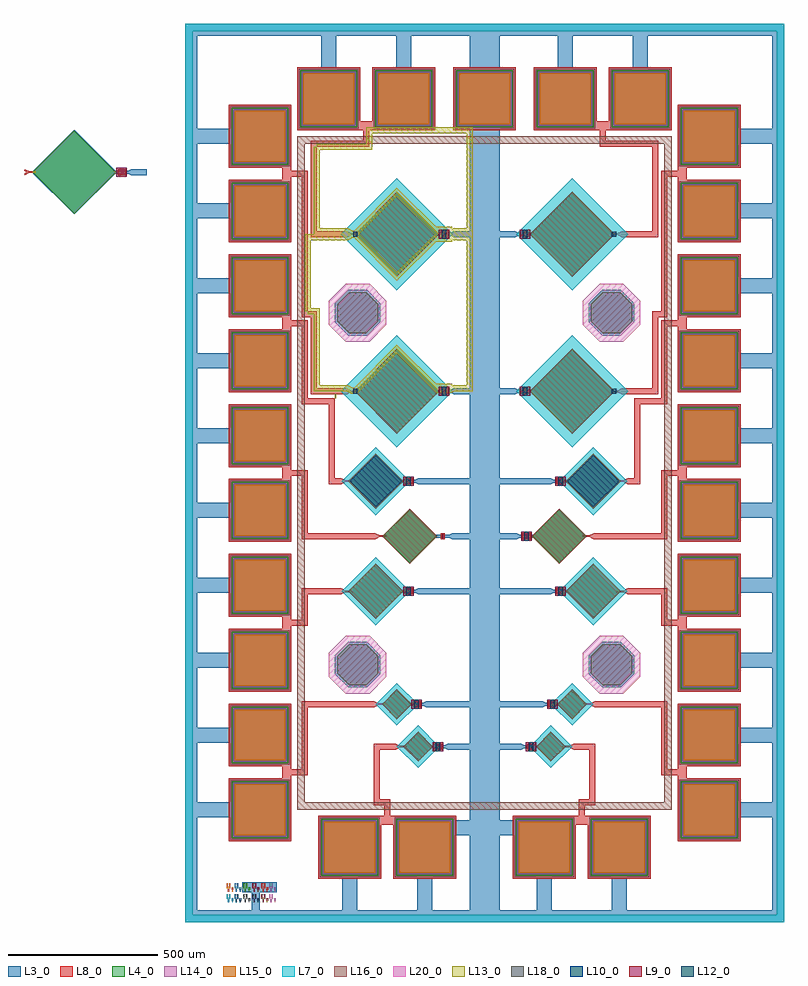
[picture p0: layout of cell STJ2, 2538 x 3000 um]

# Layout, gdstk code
from math import pi, radians
import gdstk
lib = gdstk.Library(unit=1e-6, precision=1e-09)
def R(c, l, rs):  # rectangles x0, y0, x1, y1
    for r in rs: c.add(gdstk.rectangle(r[:2], r[2:], *l))
def A(c, l, x, y, w, h, nx, ny, dx, dy):  # array of equal rectangles
    R(c, l, [(x+i*dx, y+j*dy, x+i*dx+w, y+j*dy+h) for i in range(nx) for j in range(ny)])
def P(c, l, *ps):  # polygons
    for p in ps: c.add(gdstk.Polygon(p, *l))
L3_0 = (3, 0)
L4_0 = (4, 0)
L7_0 = (7, 0)
L8_0 = (8, 0)
L9_0 = (9, 0)
L10_0 = (10, 0)
L12_0 = (12, 0)
L13_0 = (13, 0)
L14_0 = (14, 0)
L15_0 = (15, 0)
L16_0 = (16, 0)
L18_0 = (18, 0)
L20_0 = (20, 0)

pad200s = lib.new_cell('pad200s')
R(pad200s, L3_0, [(0,0,200,200)])
R(pad200s, L4_0, [(5,5,195,195)])
R(pad200s, L8_0, [(-5,-5,205,205)])
R(pad200s, L14_0, [(10,10,190,190)])
R(pad200s, L15_0, [(15,15,185,185)])

smallpost = lib.new_cell('smallpost')
P(smallpost, L3_0, [(31.5,76),(76,31.5),(76,-31.5),(31.5,-76),(-31.5,-76),(-76,-31.5),(-76,31.5),(-31.5,76)])
P(smallpost, L18_0, [(28.5,68.5),(68.5,28.5),(68.5,-28.5),(28.5,-68.5),(-28.5,-68.5),(-68.5,-28.5),(-68.5,28.5),(-28.5,68.5)])
P(smallpost, L20_0, [(39.799,96.083),(96.083,39.799),(96.083,-39.799),(39.799,-96.083),(-39.799,-96.083),(-96.083,-39.799),(-96.083,39.799),(-39.799,96.083)])

stj2 = lib.new_cell('STJ2')
A(stj2, L3_0, 40, 350, 110, 50, 1, 10, 0, 250)
A(stj2, L3_0, 1850, 350, 110, 50, 1, 10, 0, 250)
R(stj2, L3_0, [(0,0,1960,40), (1960,0,2000,2960), (0,40,40,3000), (222,40,250,100), (525,40,575,150), (775,40,825,150), (950,40,1050,2960), (1175,40,1225,150), (1425,40,1475,150), (191,100,306,133), (169,102,173,118), (183,102,185,110), (181,108,183,116), (185,108,187,116), (165,114,169,130), (173,114,177,130), (900,290,950,340), (1050,290,1100,340), (876.73,576.365,950,596.365), (1050,576.365,1123.27,596.365), (821.73,581.365,866.73,591.365), (869.23,581.365,876.73,591.365), (1123.27,581.365,1130.77,591.365), (1133.27,581.365,1178.27,591.365), (806.023,717.786,950,737.786), (1050,717.786,1193.977,737.786), (751.023,722.786,796.023,732.786), (798.523,722.786,806.023,732.786), (1193.977,722.786,1201.477,732.786), (1203.977,722.786,1248.977,732.786), (779.311,1095.09,950,1115.09), (1050,1095.09,1220.689,1115.09), (724.311,1100.09,769.311,1110.09), (771.811,1100.09,779.311,1110.09), (1220.689,1100.09,1228.189,1110.09), (1230.689,1100.09,1275.689,1110.09), (892.449,1278.938,950,1298.938), (1050,1278.938,1107.551,1298.938), (837.449,1283.938,882.449,1293.938), (884.949,1283.938,892.449,1293.938), (1107.551,1283.938,1115.051,1293.938), (1117.551,1283.938,1162.551,1293.938), (779.311,1462.786,950,1482.786), (1050,1462.786,1220.689,1482.786), (724.311,1467.786,769.311,1477.786), (771.811,1467.786,779.311,1477.786), (1220.689,1467.786,1228.189,1477.786), (1230.689,1467.786,1275.689,1477.786), (897.522,1762.952,950,1782.952), (1050,1762.952,1102.478,1782.952), (842.522,1767.952,887.522,1777.952), (890.022,1767.952,897.522,1777.952), (1102.478,1767.952,1109.978,1777.952), (1112.478,1767.952,1157.478,1777.952), (897.522,2287.318,950,2307.318), (1050,2287.318,1102.478,2307.318), (842.522,2292.318,887.522,2302.318), (890.022,2292.318,897.522,2302.318), (1102.478,2292.318,1109.978,2302.318), (1112.478,2292.318,1157.478,2302.318), (-180,2495,-127.522,2515), (-235,2500,-190,2510), (-187.5,2500,-180,2510), (1050,2660,1100,2710), (455,2850,505,2960), (705,2850,755,2960), (1245,2850,1295,2960), (1495,2850,1545,2960), (40,2960,2000,3000)])
P(stj2, L3_0, [(-370.182,2646.421),(-511.603,2505),(-370.182,2363.579),(-228.761,2505)],
  [(-195,2507.5),(-192.5,2502.5),(-177.5,2510),(-180,2515)],
  [(-180,2495),(-177.5,2500),(-192.5,2507.5),(-195,2502.5)],
  [(707.34,2155.897),(565.919,2297.318),(707.34,2438.739),(848.761,2297.318)],
  [(1292.66,2155.897),(1434.081,2297.318),(1292.66,2438.739),(1151.239,2297.318)],
  [(897.522,2307.318),(900.022,2302.318),(885.022,2294.818),(882.522,2299.818)],
  [(1102.478,2307.318),(1099.978,2302.318),(1114.978,2294.818),(1117.478,2299.818)],
  [(882.522,2294.818),(885.022,2299.818),(900.022,2292.318),(897.522,2287.318)],
  [(1117.478,2294.818),(1114.978,2299.818),(1099.978,2292.318),(1102.478,2287.318)],
  [(707.34,1631.531),(565.919,1772.952),(707.34,1914.373),(848.761,1772.952)],
  [(1292.66,1631.531),(1434.081,1772.952),(1292.66,1914.373),(1151.239,1772.952)],
  [(897.522,1782.952),(900.022,1777.952),(885.022,1770.452),(882.522,1775.452)],
  [(1102.478,1782.952),(1099.978,1777.952),(1114.978,1770.452),(1117.478,1775.452)],
  [(882.522,1770.452),(885.022,1775.452),(900.022,1767.952),(897.522,1762.952)],
  [(1117.478,1770.452),(1114.978,1775.452),(1099.978,1767.952),(1102.478,1762.952)],
  [(636.811,1380.862),(544.887,1472.786),(636.811,1564.71),(728.735,1472.786)],
  [(1363.189,1380.862),(1455.113,1472.786),(1363.189,1564.71),(1271.265,1472.786)],
  [(779.311,1482.786),(781.811,1477.786),(766.811,1470.286),(764.311,1475.286)],
  [(1220.689,1482.786),(1218.189,1477.786),(1233.189,1470.286),(1235.689,1475.286)],
  [(764.311,1470.286),(766.811,1475.286),(781.811,1467.786),(779.311,1462.786)],
  [(1235.689,1470.286),(1233.189,1475.286),(1218.189,1467.786),(1220.689,1462.786)],
  [(749.949,1197.014),(658.025,1288.938),(749.949,1380.862),(841.873,1288.938)],
  [(1250.051,1197.014),(1341.975,1288.938),(1250.051,1380.862),(1158.127,1288.938)],
  [(892.449,1298.938),(894.949,1293.938),(879.949,1286.438),(877.449,1291.438)],
  [(1107.551,1298.938),(1105.051,1293.938),(1120.051,1286.438),(1122.551,1291.438)],
  [(877.449,1286.438),(879.949,1291.438),(894.949,1283.938),(892.449,1278.938)],
  [(1122.551,1286.438),(1120.051,1291.438),(1105.051,1283.938),(1107.551,1278.938)],
  [(636.811,1013.166),(544.887,1105.09),(636.811,1197.014),(728.735,1105.09)],
  [(1363.189,1013.166),(1455.113,1105.09),(1363.189,1197.014),(1271.265,1105.09)],
  [(779.311,1115.09),(781.811,1110.09),(766.811,1102.59),(764.311,1107.59)],
  [(1220.689,1115.09),(1218.189,1110.09),(1233.189,1102.59),(1235.689,1107.59)],
  [(764.311,1102.59),(766.811,1107.59),(781.811,1100.09),(779.311,1095.09)],
  [(1235.689,1102.59),(1233.189,1107.59),(1218.189,1100.09),(1220.689,1095.09)],
  [(658.021,727.786),(707.521,777.286),(757.019,727.786),(707.521,678.286)],
  [(1341.979,727.786),(1292.479,777.286),(1242.981,727.786),(1292.479,678.286)],
  [(806.023,737.786),(808.523,732.786),(793.523,725.286),(791.023,730.286)],
  [(1193.977,737.786),(1191.477,732.786),(1206.477,725.286),(1208.977,730.286)],
  [(791.023,725.286),(793.523,730.286),(808.523,722.786),(806.023,717.786)],
  [(1208.977,725.286),(1206.477,730.286),(1191.477,722.786),(1193.977,717.786)],
  [(728.728,586.365),(778.228,635.865),(827.726,586.365),(778.228,536.865)],
  [(1271.272,586.365),(1221.772,635.865),(1172.274,586.365),(1221.772,536.865)],
  [(876.73,596.365),(879.23,591.365),(864.23,583.865),(861.73,588.865)],
  [(1123.27,596.365),(1120.77,591.365),(1135.77,583.865),(1138.27,588.865)],
  [(861.73,583.865),(864.23,588.865),(879.23,581.365),(876.73,576.365)],
  [(1138.27,583.865),(1135.77,588.865),(1120.77,581.365),(1123.27,576.365)])
P(stj2, L4_0, [(-370.182,2643.592),(-508.774,2505),(-370.185,2366.411),(-231.593,2505.003)],
  [(707.34,2158.726),(568.748,2297.318),(707.337,2435.907),(845.929,2297.315)],
  [(1292.66,2158.726),(1431.252,2297.318),(1292.663,2435.907),(1154.071,2297.315)],
  [(707.34,1634.36),(568.748,1772.952),(707.337,1911.541),(845.929,1772.949)],
  [(1292.66,1634.36),(1431.252,1772.952),(1292.663,1911.541),(1154.071,1772.949)],
  [(636.81,1383.696),(547.72,1472.786),(636.815,1561.881),(725.905,1472.791)],
  [(1363.19,1383.696),(1452.28,1472.786),(1363.185,1561.881),(1274.095,1472.791)],
  [(749.948,1199.848),(660.858,1288.938),(749.953,1378.033),(839.043,1288.943)],
  [(1250.052,1199.848),(1339.142,1288.938),(1250.047,1378.033),(1160.957,1288.943)],
  [(636.81,1016),(547.72,1105.09),(636.815,1194.185),(725.905,1105.095)],
  [(1363.19,1016),(1452.28,1105.09),(1363.185,1194.185),(1274.095,1105.095)],
  [(707.521,681.115),(660.852,727.784),(707.522,774.454),(754.191,727.785)],
  [(1292.479,681.115),(1339.148,727.784),(1292.478,774.454),(1245.809,727.785)],
  [(778.228,539.694),(731.559,586.363),(778.229,633.033),(824.898,586.364)],
  [(1221.772,539.694),(1268.441,586.363),(1221.771,633.033),(1175.102,586.364)],
  [(195,130),(199,130),(199,118),(203,118),(203,130),(207,130),(207,114),(203,114),(203,102),(199,102),(199,114),(195,114)],
  [(211,116),(213,116),(213,110),(215,110),(215,116),(217,116),(217,108),(215,108),(215,102),(213,102),(213,108),(211,108)])
R(stj2, L7_0, [(143,66,147,82), (157,66,159,74), (155,72,157,80), (159,72,161,80), (139,78,143,94), (147,78,151,94)])
P(stj2, L7_0, [(0,3000),(2000,3000),(2000,0),(0,0),(0,25),(1975,25),(1975,2975),(25,2975),(25,25),(0,25)],
  [(707.521,2110.289),(894.55,2297.318),(707.521,2484.347),(520.491,2297.318)],
  [(1292.479,2110.289),(1105.45,2297.318),(1292.479,2484.347),(1479.509,2297.318)],
  [(707.521,1585.923),(894.55,1772.952),(707.521,1959.981),(520.491,1772.952)],
  [(1292.479,1585.923),(1105.45,1772.952),(1292.479,1959.981),(1479.509,1772.952)],
  [(636.811,1359.649),(523.674,1472.786),(636.811,1585.923),(749.948,1472.786)],
  [(1363.189,1359.649),(1476.326,1472.786),(1363.189,1585.923),(1250.052,1472.786)],
  [(636.811,1218.227),(523.674,1105.09),(636.811,991.953),(749.948,1105.09)],
  [(1363.189,1218.227),(1476.326,1105.09),(1363.189,991.953),(1250.052,1105.09)],
  [(778.232,727.786),(707.521,657.075),(636.814,727.786),(707.521,798.497)],
  [(1221.768,727.786),(1292.479,657.075),(1363.186,727.786),(1292.479,798.497)],
  [(848.939,586.365),(778.228,515.654),(707.521,586.365),(778.228,657.076)],
  [(1151.061,586.365),(1221.772,515.654),(1292.479,586.365),(1221.772,657.076)])
A(stj2, L8_0, 325, 480, 30, 40, 1, 5, 0, 500)
R(stj2, L8_0, [(655,325,695,355), (1305,325,1345,355), (1645,480,1675,520), (1645,480,1675,520), (830.728,576.365,858.228,596.365), (1141.772,576.365,1169.272,596.365), (702.73,581.365,710.23,591.365), (1289.77,581.365,1297.27,591.365), (760.021,717.786,787.521,737.786), (1212.479,717.786,1239.979,737.786), (632.023,722.786,639.523,732.786), (1360.477,722.786,1367.977,732.786), (1645,980,1675,1020), (1645,980,1675,1020), (733.311,1095.09,760.811,1115.09), (1239.189,1095.09,1266.689,1115.09), (521.811,1100.09,529.311,1110.09), (1470.689,1100.09,1478.189,1110.09), (1126.051,1278.938,1153.551,1298.938), (853,1279,867,1298.938), (634.949,1283.938,642.449,1293.938), (1357.551,1283.938,1365.051,1293.938), (733.311,1462.786,760.811,1482.786), (1239.189,1462.786,1266.689,1482.786), (521.811,1467.786,529.311,1477.786), (1470.689,1467.786,1478.189,1477.786), (1645,1480,1675,1520), (1645,1480,1675,1520), (851.84,1762.873,879.34,1782.873), (1120.66,1762.873,1148.16,1782.873), (542.022,1767.952,549.522,1777.952), (1450.478,1767.952,1457.978,1777.952), (1645,1980,1675,2020), (1645,1980,1675,2020), (851.84,2287.239,879.34,2307.239), (1120.66,2287.239,1148.16,2307.239), (542.022,2292.318,549.522,2302.318), (1450.478,2292.318,1457.978,2302.318), (1645,2480,1675,2520), (1645,2480,1675,2520), (-225.682,2495.079,-198.182,2515.079), (585,2645,625,2675), (1375,2645,1415,2675)])
P(stj2, L8_0, [(-538,2500),(-535.5,2495),(-520.5,2502.5),(-499,2502.5),(-499,2507.5),(-520.5,2507.5),(-535.5,2515),(-538,2510),(-528,2505)],
  [(539.522,2302.318),(542.022,2307.318),(557.022,2299.818),(578.522,2299.818),(578.522,2294.818),(557.022,2294.818),(542.022,2287.318),(539.522,2292.318),(549.522,2297.318)],
  [(1460.478,2302.318),(1457.978,2307.318),(1442.978,2299.818),(1421.478,2299.818),(1421.478,2294.818),(1442.978,2294.818),(1457.978,2287.318),(1460.478,2292.318),(1450.478,2297.318)],
  [(539.522,1777.952),(542.022,1782.952),(557.022,1775.452),(578.522,1775.452),(578.522,1770.452),(557.022,1770.452),(542.022,1762.952),(539.522,1767.952),(549.522,1772.952)],
  [(1460.478,1777.952),(1457.978,1782.952),(1442.978,1775.452),(1421.478,1775.452),(1421.478,1770.452),(1442.978,1770.452),(1457.978,1762.952),(1460.478,1767.952),(1450.478,1772.952)],
  [(519.311,1477.786),(521.811,1482.786),(536.811,1475.286),(558.811,1475.286),(558.811,1470.286),(536.811,1470.286),(521.811,1462.786),(519.311,1467.786),(529.311,1472.786)],
  [(1480.689,1477.786),(1478.189,1482.786),(1463.189,1475.286),(1441.189,1475.286),(1441.189,1470.286),(1463.189,1470.286),(1478.189,1462.786),(1480.689,1467.786),(1470.689,1472.786)],
  [(632.449,1293.938),(634.949,1298.938),(649.949,1291.438),(671.949,1291.438),(671.949,1286.438),(649.949,1286.438),(634.949,1278.938),(632.449,1283.938),(642.449,1288.938)],
  [(1367.551,1293.938),(1365.051,1298.938),(1350.051,1291.438),(1328.051,1291.438),(1328.051,1286.438),(1350.051,1286.438),(1365.051,1278.938),(1367.551,1283.938),(1357.551,1288.938)],
  [(519.311,1110.09),(521.811,1115.09),(536.811,1107.59),(558.811,1107.59),(558.811,1102.59),(536.811,1102.59),(521.811,1095.09),(519.311,1100.09),(529.311,1105.09)],
  [(1480.689,1110.09),(1478.189,1115.09),(1463.189,1107.59),(1441.189,1107.59),(1441.189,1102.59),(1463.189,1102.59),(1478.189,1095.09),(1480.689,1100.09),(1470.689,1105.09)],
  [(629.523,732.786),(632.023,737.786),(647.023,730.286),(669.023,730.286),(669.023,725.286),(647.023,725.286),(632.023,717.786),(629.523,722.786),(639.523,727.786)],
  [(1370.477,732.786),(1367.977,737.786),(1352.977,730.286),(1330.977,730.286),(1330.977,725.286),(1352.977,725.286),(1367.977,717.786),(1370.477,722.786),(1360.477,727.786)],
  [(700.23,591.365),(702.73,596.365),(717.73,588.865),(739.73,588.865),(739.73,583.865),(717.73,583.865),(702.73,576.365),(700.23,581.365),(710.23,586.365)],
  [(1299.77,591.365),(1297.27,596.365),(1282.27,588.865),(1260.27,588.865),(1260.27,583.865),(1282.27,583.865),(1297.27,576.365),(1299.77,581.365),(1289.77,586.365)],
  [(263,114),(263,102),(259,102),(259,114),(255,114),(255,130),(259,130),(259,118),(263,118),(263,130),(267,130),(267,114)],
  [(275,108),(275,102),(273,102),(273,108),(271,108),(271,116),(273,116),(273,110),(275,110),(275,116),(277,116),(277,108)])
R(stj2, L9_0, [(229,102,233,118), (243,102,245,110), (241,108,243,116), (245,108,247,116), (225,114,229,130), (233,114,237,130), (826.73,571.365,861.73,601.365), (1138.27,571.365,1173.27,601.365), (756.023,712.786,791.023,742.786), (1208.977,712.786,1243.977,742.786), (729.311,1090.09,764.311,1120.09), (1235.689,1090.09,1270.689,1120.09), (1122.551,1273.938,1157.551,1303.938), (858,1281,862,1297), (729.311,1457.786,764.311,1487.786), (1235.689,1457.786,1270.689,1487.786), (847.522,1757.952,882.522,1787.952), (1117.478,1757.952,1152.478,1787.952), (847.522,2282.318,882.522,2312.318), (1117.478,2282.318,1152.478,2312.318), (-230,2490,-195,2520)])
R(stj2, L10_0, [(169,66,173,82), (183,66,185,74), (181,72,183,80), (185,72,187,80), (165,78,169,94), (173,78,177,94)])
P(stj2, L10_0, [(636.81,1386.525),(550.55,1472.785),(636.816,1559.051),(723.076,1472.791)],
  [(1363.19,1386.525),(1449.45,1472.785),(1363.184,1559.051),(1276.924,1472.791)])
R(stj2, L12_0, [(229,66,233,82), (243,66,245,74), (241,72,243,80), (245,72,247,80), (225,78,229,94), (233,78,237,94), (836.73,571.365,851.73,601.365), (1148.27,571.365,1163.27,601.365), (766.023,712.786,781.023,742.786), (1218.977,712.786,1233.977,742.786), (738.811,1090.09,753.811,1120.09), (1246.189,1090.09,1261.189,1120.09), (1133.051,1273.938,1148.051,1303.938), (738.811,1457.786,753.811,1487.786), (1246.189,1457.786,1261.189,1487.786), (857.522,1757.952,872.522,1787.952), (1127.478,1757.952,1142.478,1787.952), (561.022,1764.952,574.522,1780.952), (1425.478,1764.952,1438.978,1780.952), (857.522,2282.318,872.522,2312.318), (1127.478,2282.318,1142.478,2312.318), (561.022,2289.318,574.522,2305.318), (1425.478,2289.318,1438.978,2305.318)])
R(stj2, L13_0, [(500,1750,505,1762.952), (-235,2500,-233.761,2510), (-509.103,2502.5,-499,2507.5)])
P(stj2, L14_0, [(285,114),(281,114),(281,130),(285,130),(285,118),(289,118),(289,130),(293,130),(293,114),(289,114),(289,102),(285,102)],
  [(299,108),(297,108),(297,116),(299,116),(299,110),(301,110),(301,116),(303,116),(303,108),(301,108),(301,102),(299,102)])
R(stj2, L15_0, [(143,102,147,118), (157,102,159,110), (155,108,157,116), (159,108,161,116), (139,114,143,130), (147,114,151,130)])
P(stj2, L16_0, [(375,2625),(1625,2625),(1625,375),(375,375),(375,400),(1600,400),(1600,2600),(400,2600),(400,400),(375,400)],
  [(707.34,2155.897),(565.919,2297.318),(707.34,2438.739),(848.761,2297.318)],
  [(1292.66,2155.897),(1434.081,2297.318),(1292.66,2438.739),(1151.239,2297.318)],
  [(707.34,1631.531),(565.919,1772.952),(707.34,1914.373),(848.761,1772.952)],
  [(1292.66,1631.531),(1434.081,1772.952),(1292.66,1914.373),(1151.239,1772.952)],
  [(636.811,1380.862),(544.887,1472.786),(636.811,1564.71),(728.735,1472.786)],
  [(1363.189,1380.862),(1455.113,1472.786),(1363.189,1564.71),(1271.265,1472.786)],
  [(749.949,1197.014),(658.025,1288.938),(749.949,1380.862),(841.873,1288.938)],
  [(1250.051,1197.014),(1341.975,1288.938),(1250.051,1380.862),(1158.127,1288.938)],
  [(636.811,1013.166),(544.887,1105.09),(636.811,1197.014),(728.735,1105.09)],
  [(1363.189,1013.166),(1455.113,1105.09),(1363.189,1197.014),(1271.265,1105.09)],
  [(707.521,678.286),(658.021,727.786),(707.521,777.284),(757.021,727.786)],
  [(1292.479,678.286),(1341.979,727.786),(1292.479,777.284),(1242.979,727.786)],
  [(778.228,536.865),(728.728,586.365),(778.228,635.863),(827.728,586.365)],
  [(1221.772,536.865),(1271.272,586.365),(1221.772,635.863),(1172.272,586.365)],
  [(263,78),(263,66),(259,66),(259,78),(255,78),(255,94),(259,94),(259,82),(263,82),(263,94),(267,94),(267,78)],
  [(275,72),(275,66),(273,66),(273,72),(271,72),(271,80),(273,80),(273,74),(275,74),(275,80),(277,80),(277,72)])
P(stj2, L18_0, [(195,94),(199,94),(199,82),(203,82),(203,94),(207,94),(207,78),(203,78),(203,66),(199,66),(199,78),(195,78)],
  [(211,80),(213,80),(213,74),(215,74),(215,80),(217,80),(217,72),(215,72),(215,66),(213,66),(213,72),(211,72)])
P(stj2, L20_0, [(285,78),(281,78),(281,94),(285,94),(285,82),(289,82),(289,94),(293,94),(293,78),(289,78),(289,66),(285,66)],
  [(299,72),(297,72),(297,80),(299,80),(299,74),(301,74),(301,80),(303,80),(303,72),(301,72),(301,66),(299,66)])
stj2.add(gdstk.FlexPath([(605,2670),(605,2600),(430,2600),(430,2297),(542.022,2297.318)], 20, ends="flush", simple_path=True, layer=8, datatype=0))  # L8_0
stj2.add(gdstk.FlexPath([(1395,2670),(1395,2600),(1570,2600),(1570,2297),(1457.978,2297.318)], 20, ends="flush", simple_path=True, layer=8, datatype=0))  # L8_0
stj2.add(gdstk.FlexPath([(330,2500),(400,2500),(400,2030),(430,2030),(430,1772.952),(542.022,1772.952)], 20, ends="flush", simple_path=True, layer=8, datatype=0))  # L8_0
stj2.add(gdstk.FlexPath([(1670,2500),(1600,2500),(1600,2030),(1570,2030),(1570,1772.952),(1457.978,1772.952)], 20, ends="flush", simple_path=True, layer=8, datatype=0))  # L8_0
stj2.add(gdstk.FlexPath([(330,2000),(400,2000),(400,1740),(490,1740),(490,1472.786),(521.811,1472.786)], 20, ends="flush", simple_path=True, layer=8, datatype=0))  # L8_0
stj2.add(gdstk.FlexPath([(1670,2000),(1600,2000),(1600,1740),(1510,1740),(1510,1472.786),(1478.189,1472.786)], 20, ends="flush", simple_path=True, layer=8, datatype=0))  # L8_0
stj2.add(gdstk.FlexPath([(330,1500),(400,1500),(400,1288.938),(634.949,1288.938)], 20, ends="flush", simple_path=True, layer=8, datatype=0))  # L8_0
stj2.add(gdstk.FlexPath([(1670,1500),(1600,1500),(1600,1288.938),(1365.051,1288.938)], 20, ends="flush", simple_path=True, layer=8, datatype=0))  # L8_0
stj2.add(gdstk.FlexPath([(330,1000),(400,1000),(400,1105.09),(521.811,1105.09)], 20, ends="flush", simple_path=True, layer=8, datatype=0))  # L8_0
stj2.add(gdstk.FlexPath([(1670,1000),(1600,1000),(1600,1105.09),(1478.189,1105.09)], 20, ends="flush", simple_path=True, layer=8, datatype=0))  # L8_0
stj2.add(gdstk.FlexPath([(330,500),(400,500),(400,727.786),(632.023,727.786)], 20, ends="flush", simple_path=True, layer=8, datatype=0))  # L8_0
stj2.add(gdstk.FlexPath([(1670,500),(1600,500),(1600,727.786),(1367.977,727.786)], 20, ends="flush", simple_path=True, layer=8, datatype=0))  # L8_0
stj2.add(gdstk.FlexPath([(675,330),(675,400),(640,400),(640,586.365),(702.723,586.365)], 20, ends="flush", simple_path=True, layer=8, datatype=0))  # L8_0
stj2.add(gdstk.FlexPath([(1325,330),(1325,400),(1360,400),(1360,586.365),(1297.277,586.365)], 20, ends="flush", simple_path=True, layer=8, datatype=0))  # L8_0
stj2.add(gdstk.FlexPath([(440,2590),(440,2307.028),(541.994,2307.318),(557.022,2299.818),(568.419,2299.818),(707.34,2438.739),(843.761,2302.318),(847.522,2302.318),(847.522,2312.318),(882.522,2312.318),(882.522,2302.318),(887.522,2302.307),(897.522,2307.318),(950,2307.318),(950,2645),(615,2645),(615,2590),(440,2590)], 20, ends="flush", simple_path=True, layer=13, datatype=0))  # L13_0
stj2.add(gdstk.FlexPath([(410,2040),(410,2287.165),(541.994,2287.318),(557.022,2294.818),(568.419,2294.818),(707.34,2155.897),(843.761,2292.318),(847.522,2292.318),(847.522,2282.318),(882.522,2282.318),(882.522,2292.318),(887.522,2292.329),(897.522,2287.318),(950,2287.318),(950,1782.952),(897.522,1782.952),(887.522,1777.952),(882.522,1777.952),(882.522,1787.952),(847.522,1787.952),(847.522,1777.952),(843.761,1777.952),(707.34,1914.373),(568.419,1775.452),(557.022,1775.452),(542.022,1782.952),(440,1782.952),(440,2040),(410,2040)], 20, ends="flush", simple_path=True, layer=13, datatype=0))  # L13_0
stj2.add(gdstk.Reference(pad200s, (1850,1025), rotation=pi/2))
stj2.add(gdstk.Reference(pad200s, (450,150)))
stj2.add(gdstk.Reference(pad200s, (1850,2525), rotation=pi/2))
stj2.add(gdstk.Reference(pad200s, (1850,525), rotation=pi/2))
stj2.add(gdstk.Reference(pad200s, (580,2850), rotation=pi))
stj2.add(gdstk.Reference(pad200s, (150,2225), rotation=3*pi/2))
stj2.add(gdstk.Reference(pad200s, (1850,1525), rotation=pi/2))
stj2.add(gdstk.Reference(pad200s, (150,475), rotation=3*pi/2))
stj2.add(gdstk.Reference(pad200s, (1350,150)))
stj2.add(gdstk.Reference(pad200s, (1850,1775), rotation=pi/2))
stj2.add(gdstk.Reference(pad200s, (150,2725), rotation=3*pi/2))
stj2.add(gdstk.Reference(pad200s, (150,2475), rotation=3*pi/2))
stj2.add(gdstk.Reference(pad200s, (150,1225), rotation=3*pi/2))
stj2.add(gdstk.Reference(pad200s, (150,1475), rotation=3*pi/2))
stj2.add(gdstk.Reference(pad200s, (830,2850), rotation=pi))
stj2.add(gdstk.Reference(pad200s, (700,150)))
stj2.add(gdstk.Reference(pad200s, (1850,275), rotation=pi/2))
stj2.add(gdstk.Reference(pad200s, (1100,2850), rotation=pi))
stj2.add(gdstk.Reference(pad200s, (1850,2275), rotation=pi/2))
stj2.add(gdstk.Reference(pad200s, (150,975), rotation=3*pi/2))
stj2.add(gdstk.Reference(pad200s, (1100,150)))
stj2.add(gdstk.Reference(pad200s, (150,1725), rotation=3*pi/2))
stj2.add(gdstk.Reference(pad200s, (150,1975), rotation=3*pi/2))
stj2.add(gdstk.Reference(pad200s, (1370,2850), rotation=pi))
stj2.add(gdstk.Reference(pad200s, (1620,2850), rotation=pi))
stj2.add(gdstk.Reference(pad200s, (1850,2025), rotation=pi/2))
stj2.add(gdstk.Reference(pad200s, (1850,775), rotation=pi/2))
stj2.add(gdstk.Reference(pad200s, (150,725), rotation=3*pi/2))
stj2.add(gdstk.Reference(pad200s, (1850,1275), rotation=pi/2))
stj2.add(gdstk.Reference(smallpost, (576.083,2035.135)))
stj2.add(gdstk.Reference(smallpost, (1423.917,2035.135), rotation=pi, x_reflection=True))
stj2.add(gdstk.Reference(smallpost, (576.083,859.703)))
stj2.add(gdstk.Reference(smallpost, (1423.917,859.703), rotation=pi, x_reflection=True))

lib.write_gds('STJ2.gds')
